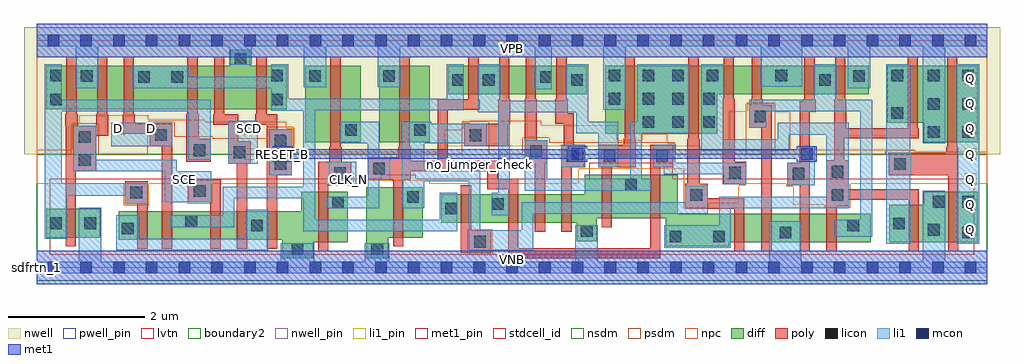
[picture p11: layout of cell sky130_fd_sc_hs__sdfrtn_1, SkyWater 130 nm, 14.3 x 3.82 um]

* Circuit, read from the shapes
.subckt sky130_fd_sc_hs__sdfrtn_1 CLK_N D Q RESET_B SCD SCE VGND VNB VPB VPWR
XM1 VGND SCE n1 VNB sky130_fd_pr__nfet_01v8_lvt w=0.42 l=0.15
XM2 n2 n1 n3 VNB sky130_fd_pr__nfet_01v8_lvt w=0.42 l=0.15
XM3 n4 D n2 VNB sky130_fd_pr__nfet_01v8_lvt w=0.42 l=0.15
XM4 n5 SCE n4 VNB sky130_fd_pr__nfet_01v8_lvt w=0.42 l=0.15
XM5 n3 SCD n5 VNB sky130_fd_pr__nfet_01v8_lvt w=0.42 l=0.15
XM6 VGND RESET_B n3 VNB sky130_fd_pr__nfet_01v8_lvt w=0.42 l=0.15
XM7 n6 CLK_N VGND VNB sky130_fd_pr__nfet_01v8_lvt w=0.74 l=0.15
XM8 n7 n6 VGND VNB sky130_fd_pr__nfet_01v8_lvt w=0.74 l=0.15
XM9 n8 n7 n4 VNB sky130_fd_pr__nfet_01v8_lvt w=0.42 l=0.15
XM10 n9 n6 n8 VNB sky130_fd_pr__nfet_01v8_lvt w=0.42 l=0.15
XM11 n10 n11 n9 VNB sky130_fd_pr__nfet_01v8_lvt w=0.42 l=0.15
XM12 VGND RESET_B n10 VNB sky130_fd_pr__nfet_01v8_lvt w=0.42 l=0.15
XM13 n11 n8 VGND VNB sky130_fd_pr__nfet_01v8_lvt w=0.64 l=0.15
XM14 n12 n6 n11 VNB sky130_fd_pr__nfet_01v8_lvt w=0.64 l=0.15
XM15 n13 n7 n12 VNB sky130_fd_pr__nfet_01v8_lvt w=0.42 l=0.15
XM16 VGND n14 n13 VNB sky130_fd_pr__nfet_01v8_lvt w=0.42 l=0.15
XM17 n15 RESET_B VGND VNB sky130_fd_pr__nfet_01v8_lvt w=0.42 l=0.15
XM18 n14 n12 n15 VNB sky130_fd_pr__nfet_01v8_lvt w=0.42 l=0.15
XM19 VGND n12 n16 VNB sky130_fd_pr__nfet_01v8_lvt w=0.55 l=0.15
XM20 Q n16 VGND VNB sky130_fd_pr__nfet_01v8_lvt w=0.74 l=0.15
XM21 VPWR SCE n1 VPB sky130_fd_pr__pfet_01v8 w=0.64 l=0.15
XM22 n17 SCE VPWR VPB sky130_fd_pr__pfet_01v8 w=0.64 l=0.15
XM23 n4 D n17 VPB sky130_fd_pr__pfet_01v8 w=0.64 l=0.15
XM24 n18 n1 n4 VPB sky130_fd_pr__pfet_01v8 w=0.64 l=0.15
XM25 VPWR SCD n18 VPB sky130_fd_pr__pfet_01v8 w=0.64 l=0.15
XM26 n4 RESET_B VPWR VPB sky130_fd_pr__pfet_01v8 w=0.64 l=0.15
XM27 n6 CLK_N VPWR VPB sky130_fd_pr__pfet_01v8 w=1.12 l=0.15
XM28 n7 n6 VPWR VPB sky130_fd_pr__pfet_01v8 w=1.12 l=0.15
XM29 n8 n6 n4 VPB sky130_fd_pr__pfet_01v8 w=0.42 l=0.15
XM30 n19 n7 n8 VPB sky130_fd_pr__pfet_01v8 w=0.42 l=0.15
XM31 VPWR n11 n19 VPB sky130_fd_pr__pfet_01v8 w=0.42 l=0.15
XM32 n8 RESET_B VPWR VPB sky130_fd_pr__pfet_01v8 w=0.42 l=0.15
XM33 n11 n8 VPWR VPB sky130_fd_pr__pfet_01v8 w=1 l=0.15
XM34 n12 n7 n11 VPB sky130_fd_pr__pfet_01v8 w=1 l=0.15
XM35 n20 n6 n12 VPB sky130_fd_pr__pfet_01v8 w=0.42 l=0.15
XM36 VPWR n14 n20 VPB sky130_fd_pr__pfet_01v8 w=0.42 l=0.15
XM37 n14 RESET_B VPWR VPB sky130_fd_pr__pfet_01v8 w=0.42 l=0.15
XM38 VPWR n12 n14 VPB sky130_fd_pr__pfet_01v8 w=0.42 l=0.15
XM39 VPWR n12 n16 VPB sky130_fd_pr__pfet_01v8 w=0.84 l=0.15
XM40 Q n16 VPWR VPB sky130_fd_pr__pfet_01v8 w=1.12 l=0.15
.ends

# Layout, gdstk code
import gdstk
lib = gdstk.Library(unit=1e-6, precision=1e-09)
def R(c, l, rs):  # rectangles x0, y0, x1, y1
    for r in rs: c.add(gdstk.rectangle(r[:2], r[2:], *l))
def A(c, l, x, y, w, h, nx, ny, dx, dy):  # array of equal rectangles
    R(c, l, [(x+i*dx, y+j*dy, x+i*dx+w, y+j*dy+h) for i in range(nx) for j in range(ny)])
def P(c, l, *ps):  # polygons
    for p in ps: c.add(gdstk.Polygon(p, *l))
nwell_pin = (64, 16)
nwell = (64, 20)
diff = (65, 20)
poly = (66, 20)
licon = (66, 44)
li1_pin = (67, 16)
li1 = (67, 20)
mcon = (67, 44)
met1_pin = (68, 16)
met1 = (68, 20)
stdcell_id = (81, 4)
nsdm = (93, 44)
psdm = (94, 20)
npc = (95, 20)
pwell_pin = (122, 16)
lvtn = (125, 44)
boundary2 = (236, 0)

sky130_fd_sc_hs__sdfrtn_ = lib.new_cell('sky130_fd_sc_hs__sdfrtn_1')
R(sky130_fd_sc_hs__sdfrtn_, nwell_pin, [(0,3.085,13.92,3.33)])
P(sky130_fd_sc_hs__sdfrtn_, nwell, [(14.11,3.52),(-0.19,3.52),(-0.19,1.66),(5.995,1.66),(5.995,1.78),(9.725,1.78),(9.725,1.66),(14.11,1.66)])
R(sky130_fd_sc_hs__sdfrtn_, diff, [(0.135,0.44,0.925,0.86), (3.93,1.84,4.745,2.96), (5.015,1.84,5.755,2.96), (6.025,2.54,8.055,2.96)])
P(sky130_fd_sc_hs__sdfrtn_, diff, [(3.66,2.96),(3.125,2.96),(3.125,3.195),(2.835,3.195),(2.835,2.96),(0.135,2.96),(0.135,2.32),(3.66,2.32)],
  [(4.555,1.11),(3.87,1.11),(3.87,0.825),(1.195,0.825),(1.195,0.405),(3.595,0.405),(3.595,0.135),(4.045,0.135),(4.045,0.37),(4.555,0.37)],
  [(5.655,1.18),(4.825,1.18),(4.825,0.135),(5.145,0.135),(5.145,0.44),(5.655,0.44)],
  [(13.785,1.11),(12.995,1.11),(12.995,0.92),(12.485,0.92),(12.485,0.37),(13.785,0.37)],
  [(12.19,2.96),(8.325,2.96),(8.325,1.96),(9.97,1.96),(9.97,2.54),(12.19,2.54)],
  [(12.215,0.79),(9.385,0.79),(9.385,1.36),(8.025,1.36),(8.025,1.075),(5.925,1.075),(5.925,0.655),(7.91,0.655),(7.91,0.39),(8.2,0.39),(8.2,0.72),(9.21,0.72),(9.21,0.31),(10.14,0.31),(10.14,0.37),(12.215,0.37)],
  [(13.785,2.96),(12.46,2.96),(12.46,2.12),(12.995,2.12),(12.995,1.84),(13.785,1.84)])
P(sky130_fd_sc_hs__sdfrtn_, poly, [(13.5,1.765),(13.485,1.765),(13.485,3.09),(13.335,3.09),(13.335,1.765),(13.32,1.765),(13.32,1.685),(12.48,1.685),(12.48,1.355),(13.35,1.355),(13.35,0.24),(13.5,0.24)],
  [(12.92,1.145),(11.895,1.145),(11.895,1.57),(11.83,1.57),(11.83,1.895),(12.92,1.895),(12.92,2.045),(12.905,2.045),(12.905,3.09),(12.755,3.09),(12.755,2.045),(11.86,2.045),(11.86,2.465),(11.845,2.465),(11.845,3.09),(11.695,3.09),(11.695,2.465),(11.68,2.465),(11.68,1.57),(11.565,1.57),(11.565,0.24),(11.715,0.24),(11.715,0.9),(11.895,0.9),(11.895,0.995),(12.77,0.995),(12.77,0.24),(12.92,0.24)],
  [(11.41,2.465),(11.395,2.465),(11.395,3.09),(11.245,3.09),(11.245,2.465),(11.23,2.465),(11.23,2.435),(11.175,2.435),(11.175,1.54),(10.995,1.54),(10.995,1.21),(11.175,1.21),(11.175,0.24),(11.325,0.24),(11.325,2.285),(11.41,2.285)],
  [(10.765,2.38),(10.635,2.38),(10.635,2.465),(10.62,2.465),(10.62,3.09),(10.47,3.09),(10.47,2.465),(10.455,2.465),(10.455,2.38),(10.435,2.38),(10.435,2.05),(10.615,2.05),(10.615,0.24),(10.765,0.24)],
  [(10.395,1.555),(10.225,1.555),(10.225,2.465),(10.21,2.465),(10.21,3.09),(10.06,3.09),(10.06,2.465),(10.045,2.465),(10.045,1.225),(10.395,1.225)],
  [(10.365,1.015),(9.825,1.015),(9.825,1.23),(9.71,1.23),(9.71,1.885),(9.695,1.885),(9.695,3.09),(9.545,3.09),(9.545,1.885),(9.53,1.885),(9.53,1.23),(9.495,1.23),(9.495,0.865),(10.215,0.865),(10.215,0.24),(10.365,0.24)],
  [(9.32,1.8),(8.985,1.8),(8.985,0.285),(7.055,0.285),(7.055,1.3),(6.75,1.3),(6.75,1.565),(6.02,1.565),(6.02,2.315),(6.485,2.315),(6.485,2.465),(6.47,2.465),(6.47,3.09),(6.32,3.09),(6.32,2.465),(5.87,2.465),(5.87,1.565),(5.475,1.565),(5.475,1.765),(5.46,1.765),(5.46,3.09),(5.31,3.09),(5.31,1.765),(5.295,1.765),(5.295,1.62),(4.845,1.62),(4.845,1.29),(5.22,1.29),(5.22,0.31),(5.37,0.31),(5.37,1.29),(5.475,1.29),(5.475,1.415),(6.6,1.415),(6.6,1.15),(6.905,1.15),(6.905,0.135),(9.135,0.135),(9.135,1.47),(9.32,1.47)],
  [(8.775,1.885),(8.76,1.885),(8.76,3.09),(8.61,3.09),(8.61,1.885),(8.595,1.885),(8.595,1.8),(8.225,1.8),(8.225,1.47),(8.275,1.47),(8.275,0.59),(8.425,0.59),(8.425,1.47),(8.775,1.47)],
  [(8.015,1.8),(7.865,1.8),(7.865,2.26),(7.775,2.26),(7.775,2.465),(7.76,2.465),(7.76,3.09),(7.61,3.09),(7.61,2.465),(7.595,2.465),(7.595,2.11),(7.715,2.11),(7.715,1.8),(7.685,1.8),(7.685,0.525),(7.835,0.525),(7.835,1.47),(8.015,1.47)],
  [(7.475,1.87),(7.325,1.87),(7.325,2.465),(7.31,2.465),(7.31,3.09),(7.16,3.09),(7.16,2.465),(7.145,2.465),(7.145,1.54),(7.295,1.54),(7.295,0.525),(7.445,0.525),(7.445,1.54),(7.475,1.54)],
  [(6.935,2.465),(6.92,2.465),(6.92,3.09),(6.77,3.09),(6.77,2.465),(6.755,2.465),(6.755,2.105),(6.26,2.105),(6.26,1.775),(6.905,1.775),(6.905,2.105),(6.935,2.105)],
  [(6.655,0.545),(6.36,0.545),(6.36,1.205),(6.21,1.205),(6.21,0.215),(6.655,0.215)],
  [(4.605,1.55),(4.465,1.55),(4.465,1.765),(4.45,1.765),(4.45,3.09),(4.3,3.09),(4.3,1.765),(4.285,1.765),(4.285,1.55),(4.12,1.55),(4.12,0.24),(4.27,0.24),(4.27,1.22),(4.605,1.22)],
  [(3.735,2.025),(3.52,2.025),(3.52,2.245),(3.365,2.245),(3.365,3.09),(3.215,3.09),(3.215,2.245),(3.2,2.245),(3.2,2.095),(3.37,2.095),(3.37,0.275),(3.52,0.275),(3.52,1.355),(3.735,1.355)],
  [(3.13,1.855),(2.95,1.855),(2.95,2.245),(2.745,2.245),(2.745,3.09),(2.595,3.09),(2.595,2.245),(2.58,2.245),(2.58,2.095),(2.8,2.095),(2.8,1.525),(2.93,1.525),(2.93,0.275),(3.08,0.275),(3.08,1.525),(3.13,1.525)],
  [(2.69,1.285),(2.22,1.285),(2.22,0.955),(2.54,0.955),(2.54,0.275),(2.69,0.275)],
  [(2.545,1.885),(2.37,1.885),(2.37,2.245),(2.355,2.245),(2.355,3.09),(2.205,3.09),(2.205,2.245),(2.19,2.245),(2.19,1.555),(2.545,1.555)],
  [(1.98,2.11),(1.435,2.11),(1.435,2.245),(1.42,2.245),(1.42,3.09),(1.27,3.09),(1.27,2.245),(1.255,2.245),(1.255,1.96),(1.65,1.96),(1.65,1.78),(1.83,1.78),(1.83,0.275),(1.98,0.275)],
  [(1.62,1.265),(1.29,1.265),(1.29,0.935),(1.47,0.935),(1.47,0.275),(1.62,0.275)],
  [(1.045,2.245),(1.03,2.245),(1.03,3.09),(0.88,3.09),(0.88,2.245),(0.865,2.245),(0.865,2.08),(0.595,2.08),(0.595,2.245),(0.58,2.245),(0.58,3.09),(0.43,3.09),(0.43,2.245),(0.415,2.245),(0.415,2.08),(0.42,2.08),(0.42,0.31),(0.57,0.31),(0.57,1.41),(0.865,1.41),(0.865,1.93),(1.045,1.93)])
A(sky130_fd_sc_hs__sdfrtn_, licon, 13.055, 1.9, 0.17, 0.17, 1, 3, 0, 0.415)
A(sky130_fd_sc_hs__sdfrtn_, licon, 13.555, 1.9, 0.17, 0.17, 1, 3, 0, 0.415)
A(sky130_fd_sc_hs__sdfrtn_, licon, 8.875, 2.05, 0.17, 0.17, 1, 3, 0, 0.34)
A(sky130_fd_sc_hs__sdfrtn_, licon, 9.31, 2.05, 0.17, 0.17, 1, 3, 0, 0.34)
R(sky130_fd_sc_hs__sdfrtn_, licon, [(3.735,0.19,3.905,0.36), (4.9,0.19,5.07,0.36), (6.405,0.295,6.575,0.465), (9.27,0.37,9.44,0.54), (9.91,0.37,10.08,0.54), (10.88,0.43,11.05,0.6), (13.555,0.43,13.725,0.6), (7.97,0.45,8.14,0.62), (13.055,0.47,13.225,0.64), (1.245,0.49,1.415,0.66), (3.14,0.53,3.31,0.7), (11.875,0.53,12.045,0.7), (12.545,0.56,12.715,0.73), (0.195,0.565,0.365,0.735), (0.695,0.565,0.865,0.735), (2.175,0.595,2.345,0.765), (5.985,0.78,6.155,0.95), (6.67,0.845,6.84,1.015), (4.325,0.87,4.495,1.04), (13.125,0.88,13.295,1.05), (13.555,0.88,13.725,1.05), (5.425,0.95,5.595,1.12), (9.575,0.98,9.745,1.15), (11.645,0.98,11.815,1.15), (1.37,1.015,1.54,1.185), (2.3,1.035,2.47,1.205), (8.62,1.13,8.79,1.3), (11.075,1.29,11.245,1.46), (4.355,1.3,4.525,1.47), (10.145,1.305,10.315,1.475), (11.645,1.32,11.815,1.49), (4.925,1.37,5.095,1.54), (3.485,1.435,3.655,1.605), (12.56,1.435,12.73,1.605), (0.615,1.49,0.785,1.66), (7.765,1.55,7.935,1.72), (8.305,1.55,8.475,1.72), (9.07,1.55,9.24,1.72), (2.88,1.605,3.05,1.775), (7.225,1.62,7.395,1.79), (2.295,1.635,2.465,1.805), (3.485,1.775,3.655,1.945), (0.615,1.83,0.785,2), (6.34,1.855,6.51,2.025), (1.73,1.86,1.9,2.03), (4.515,1.93,4.685,2.1), (5.525,1.93,5.695,2.1), (9.76,2.05,9.93,2.22), (10.515,2.13,10.685,2.3), (12.52,2.18,12.69,2.35), (0.195,2.38,0.365,2.55), (3.43,2.38,3.6,2.55), (8.375,2.39,8.545,2.56), (9.76,2.39,9.93,2.56), (6.085,2.665,6.255,2.835), (6.535,2.665,6.705,2.835), (7.825,2.665,7.995,2.835), (11.46,2.665,11.63,2.835), (1.485,2.71,1.655,2.88), (1.97,2.71,2.14,2.88), (7.375,2.71,7.545,2.88), (0.645,2.72,0.815,2.89), (11.96,2.72,12.13,2.89), (3.99,2.725,4.16,2.895), (5.075,2.725,5.245,2.895), (0.195,2.73,0.365,2.9), (3.43,2.73,3.6,2.9), (8.375,2.73,8.545,2.9), (9.815,2.73,9.985,2.9), (10.82,2.73,10.99,2.9), (12.52,2.73,12.69,2.9), (2.895,2.97,3.065,3.14)])
A(sky130_fd_sc_hs__sdfrtn_, li1_pin, 13.595, 0.47, 0.17, 0.17, 1, 7, 0, 0.37)
R(sky130_fd_sc_hs__sdfrtn_, li1_pin, [(2.075,1.21,2.245,1.38), (4.475,1.21,4.645,1.38), (3.035,1.58,3.205,1.75), (1.115,1.95,1.285,2.12), (1.595,1.95,1.765,2.12), (3.035,1.95,3.205,2.12)])
R(sky130_fd_sc_hs__sdfrtn_, li1, [(13.475,0.35,13.805,2.98), (4.275,1.21,4.675,1.55), (3.405,1.355,3.735,2.025), (7.685,1.47,8.035,1.8), (2.8,1.525,3.235,2.15), (1.085,1.78,1.98,2.12)])
P(sky130_fd_sc_hs__sdfrtn_, li1, [(6.255,2.98),(6.005,2.98),(6.005,2.475),(3.68,2.475),(3.68,2.98),(3.43,2.98),(3.43,2.8),(2.22,2.8),(2.22,2.96),(1.405,2.96),(1.405,2.63),(3.43,2.63),(3.43,2.3),(3.905,2.3),(3.905,1.185),(2.72,1.185),(2.72,0.765),(1.955,0.765),(1.955,0.595),(2.89,0.595),(2.89,1.015),(3.905,1.015),(3.905,0.53),(6.155,0.53),(6.155,1.095),(5.905,1.095),(5.905,0.7),(4.075,0.7),(4.075,2.305),(6.255,2.305)],
  [(2.545,2.46),(0.365,2.46),(0.365,2.98),(0.115,2.98),(0.115,0.42),(0.445,0.42),(0.445,1.05),(1.29,1.05),(1.29,0.935),(1.62,0.935),(1.62,1.24),(0.365,1.24),(0.365,2.29),(2.215,2.29),(2.215,1.58),(2.545,1.58)],
  [(2.55,1.41),(2.045,1.41),(2.045,1.58),(0.865,1.58),(0.865,2.08),(0.535,2.08),(0.535,1.41),(1.875,1.41),(1.875,0.955),(2.55,0.955)],
  [(3.39,0.845),(3.06,0.845),(3.06,0.425),(1.495,0.425),(1.495,0.765),(1.165,0.765),(1.165,0.255),(3.39,0.255)],
  [(5.175,1.62),(5.015,1.62),(5.015,2.135),(4.435,2.135),(4.435,1.82),(4.845,1.82),(4.845,1.04),(4.245,1.04),(4.245,0.87),(5.015,0.87),(5.015,1.29),(5.175,1.29)],
  [(13.92,0.085),(13.305,0.085),(13.305,1.13),(12.975,1.13),(12.975,0.085),(11.2,0.085),(11.2,0.68),(10.73,0.68),(10.73,0.085),(8.22,0.085),(8.22,0.62),(7.89,0.62),(7.89,0.085),(5.165,0.085),(5.165,0.36),(4.805,0.36),(4.805,0.085),(4.065,0.085),(4.065,0.36),(3.575,0.36),(3.575,0.085),(0.945,0.085),(0.945,0.88),(0.615,0.88),(0.615,0.085),(0,0.085),(0,-0.085),(13.92,-0.085)],
  [(13.92,3.415),(0,3.415),(0,3.245),(0.565,3.245),(0.565,2.63),(0.895,2.63),(0.895,3.245),(2.815,3.245),(2.815,2.97),(3.145,2.97),(3.145,3.245),(3.91,3.245),(3.91,2.645),(4.24,2.645),(4.24,3.245),(4.995,3.245),(4.995,2.645),(5.325,2.645),(5.325,3.245),(7.295,3.245),(7.295,2.615),(7.545,2.615),(7.545,3.245),(8.295,3.245),(8.295,2.31),(8.625,2.31),(8.625,3.245),(10.605,3.245),(10.605,2.65),(11.21,2.65),(11.21,3.245),(11.88,3.245),(11.88,2.63),(12.21,2.63),(12.21,3.245),(12.975,3.245),(12.975,1.82),(13.305,1.82),(13.305,3.245),(13.92,3.245)],
  [(12.81,1.685),(12.795,1.685),(12.795,2.98),(12.44,2.98),(12.44,0.35),(12.795,0.35),(12.795,1.355),(12.81,1.355)],
  [(12.235,2.46),(11.71,2.46),(11.71,2.98),(11.38,2.98),(11.38,2.46),(10.435,2.46),(10.435,2.05),(10.685,2.05),(10.685,2.29),(12.065,2.29),(12.065,0.7),(11.69,0.7),(11.69,0.45),(12.235,0.45)],
  [(11.895,2.12),(10.855,2.12),(10.855,1.88),(10.065,1.88),(10.065,2.98),(9.735,2.98),(9.735,1.71),(11.025,1.71),(11.025,1.95),(11.565,1.95),(11.565,1.04),(9.995,1.04),(9.995,0.62),(9.19,0.62),(9.19,0.29),(10.165,0.29),(10.165,0.87),(11.895,0.87)],
  [(11.395,1.78),(11.195,1.78),(11.195,1.54),(10.995,1.54),(10.995,1.21),(11.395,1.21)],
  [(10.395,1.54),(9.35,1.54),(9.35,1.8),(9.03,1.8),(9.03,1.47),(9.18,1.47),(9.18,1.37),(10.065,1.37),(10.065,1.225),(10.395,1.225)],
  [(9.825,1.2),(9.495,1.2),(9.495,0.96),(7.1,0.96),(7.1,0.545),(6.495,0.545),(6.495,1.435),(5.675,1.435),(5.675,1.82),(6.26,1.82),(6.26,1.775),(6.59,1.775),(6.59,2.105),(5.775,2.105),(5.775,2.135),(5.345,2.135),(5.345,0.87),(5.675,0.87),(5.675,1.265),(6.325,1.265),(6.325,0.255),(7.27,0.255),(7.27,0.79),(9.825,0.79)],
  [(9.565,2.98),(8.795,2.98),(8.795,2.14),(8.69,2.14),(8.69,1.3),(7.475,1.3),(7.475,1.87),(7.145,1.87),(7.145,1.13),(9.01,1.13),(9.01,1.3),(8.86,1.3),(8.86,1.97),(9.565,1.97)],
  [(8.52,2.14),(8.075,2.14),(8.075,2.98),(7.745,2.98),(7.745,2.445),(6.785,2.445),(6.785,2.98),(6.455,2.98),(6.455,2.275),(6.76,2.275),(6.76,1.095),(6.665,1.095),(6.665,0.765),(6.93,0.765),(6.93,2.275),(7.905,2.275),(7.905,1.97),(8.225,1.97),(8.225,1.47),(8.52,1.47)])
A(sky130_fd_sc_hs__sdfrtn_, mcon, 0.155, -0.085, 0.17, 0.17, 29, 2, 0.48, 3.33)
R(sky130_fd_sc_hs__sdfrtn_, mcon, [(3.515,1.58,3.685,1.75), (7.835,1.58,8.005,1.75), (11.195,1.58,11.365,1.75)])
R(sky130_fd_sc_hs__sdfrtn_, met1_pin, [(0,0,13.92,0.245), (3.515,1.58,3.685,1.75), (0,3.085,13.92,3.33)])
R(sky130_fd_sc_hs__sdfrtn_, met1, [(0,-0.245,13.92,0.245), (0,3.085,13.92,3.575)])
P(sky130_fd_sc_hs__sdfrtn_, met1, [(11.425,1.78),(11.135,1.78),(11.135,1.735),(8.065,1.735),(8.065,1.78),(7.775,1.78),(7.775,1.735),(3.745,1.735),(3.745,1.78),(3.455,1.78),(3.455,1.55),(3.745,1.55),(3.745,1.595),(7.775,1.595),(7.775,1.55),(8.065,1.55),(8.065,1.595),(11.135,1.595),(11.135,1.55),(11.425,1.55)])
R(sky130_fd_sc_hs__sdfrtn_, stdcell_id, [(0,0,13.92,3.33)])
R(sky130_fd_sc_hs__sdfrtn_, nsdm, [(0,-0.19,13.92,1.66)])
P(sky130_fd_sc_hs__sdfrtn_, psdm, [(13.92,3.52),(0,3.52),(0,1.66),(0.505,1.66),(0.505,2.11),(0.895,2.11),(0.895,1.66),(1.62,1.66),(1.62,2.14),(2.01,2.14),(2.01,1.915),(2.575,1.915),(2.575,1.885),(3.375,1.885),(3.375,2.055),(3.765,2.055),(3.765,1.66),(6.23,1.66),(6.23,2.135),(6.62,2.135),(6.62,1.66),(7.115,1.66),(7.115,1.9),(7.505,1.9),(7.505,1.83),(9.35,1.83),(9.35,1.66),(10.395,1.66),(10.395,2.41),(10.81,2.41),(10.81,1.66),(12.435,1.66),(12.435,1.715),(12.875,1.715),(12.875,1.66),(13.92,1.66)])
R(sky130_fd_sc_hs__sdfrtn_, npc, [(6.305,0.195,6.675,0.565)])
P(sky130_fd_sc_hs__sdfrtn_, npc, [(13.92,1.7),(12.855,1.7),(12.855,1.73),(11.04,1.73),(11.04,2.295),(10.785,2.295),(10.785,2.4),(10.405,2.4),(10.405,2.295),(10.14,2.295),(10.14,1.73),(9.34,1.73),(9.34,1.82),(9.235,1.82),(9.235,1.96),(8.865,1.96),(8.865,1.87),(8.505,1.87),(8.505,2.085),(7.39,2.085),(7.39,2.155),(6.345,2.155),(6.345,2.125),(6.24,2.125),(6.24,2.02),(5.975,2.02),(5.975,1.73),(5.895,1.73),(5.895,1.7),(3.79,1.7),(3.79,1.73),(3.755,1.73),(3.755,2.045),(3.65,2.045),(3.65,2.14),(2.46,2.14),(2.46,2.17),(1.63,2.17),(1.63,2.23),(0.62,2.23),(0.62,2.1),(0.515,2.1),(0.515,1.73),(0,1.73),(0,1.23),(1.27,1.23),(1.27,0.915),(1.64,0.915),(1.64,1.23),(2.2,1.23),(2.2,0.935),(2.57,0.935),(2.57,1.23),(4.255,1.23),(4.255,1.2),(4.625,1.2),(4.625,1.23),(4.735,1.23),(4.735,1.27),(5.745,1.27),(5.745,1.23),(7.935,1.23),(7.935,1.45),(9.475,1.45),(9.475,0.88),(9.845,0.88),(9.845,0.94),(10.28,0.94),(10.28,1.205),(10.385,1.205),(10.385,1.23),(10.975,1.23),(10.975,1.19),(11.08,1.19),(11.08,0.925),(11.545,0.925),(11.545,0.88),(11.915,0.88),(11.915,1.23),(13.92,1.23)])
R(sky130_fd_sc_hs__sdfrtn_, pwell_pin, [(0,0,13.92,0.245)])
P(sky130_fd_sc_hs__sdfrtn_, lvtn, [(13.73,1.3),(9.315,1.3),(9.315,1.54),(8.095,1.54),(8.095,1.3),(5.55,1.3),(5.55,1.36),(5.04,1.36),(5.04,1.3),(0.19,1.3),(0.19,0.19),(13.73,0.19)])
R(sky130_fd_sc_hs__sdfrtn_, boundary2, [(0,0,13.92,3.33)])
sky130_fd_sc_hs__sdfrtn_.add(gdstk.Label('no_jumper_check', (6.49,1.51), layer=83, texttype=44))
sky130_fd_sc_hs__sdfrtn_.add(gdstk.Label('sdfrtn_1', (0,0), layer=83, texttype=44))
sky130_fd_sc_hs__sdfrtn_.add(gdstk.Label('VNB', (6.96,0.123), layer=64, texttype=59))
sky130_fd_sc_hs__sdfrtn_.add(gdstk.Label('VPB', (6.96,3.208), layer=64, texttype=5))
sky130_fd_sc_hs__sdfrtn_.add(gdstk.Label('RESET_B', (3.6,1.665), layer=68, texttype=5))
sky130_fd_sc_hs__sdfrtn_.add(gdstk.Label('VPWR', (6.96,3.208), layer=68, texttype=5))
sky130_fd_sc_hs__sdfrtn_.add(gdstk.Label('VGND', (6.96,0.123), layer=68, texttype=5))
sky130_fd_sc_hs__sdfrtn_.add(gdstk.Label('Q', (13.68,0.555), layer=67, texttype=5))
sky130_fd_sc_hs__sdfrtn_.add(gdstk.Label('Q', (13.68,0.925), layer=67, texttype=5))
sky130_fd_sc_hs__sdfrtn_.add(gdstk.Label('Q', (13.68,1.295), layer=67, texttype=5))
sky130_fd_sc_hs__sdfrtn_.add(gdstk.Label('Q', (13.68,1.665), layer=67, texttype=5))
sky130_fd_sc_hs__sdfrtn_.add(gdstk.Label('Q', (13.68,2.035), layer=67, texttype=5))
sky130_fd_sc_hs__sdfrtn_.add(gdstk.Label('Q', (13.68,2.405), layer=67, texttype=5))
sky130_fd_sc_hs__sdfrtn_.add(gdstk.Label('Q', (13.68,2.775), layer=67, texttype=5))
sky130_fd_sc_hs__sdfrtn_.add(gdstk.Label('CLK_N', (4.56,1.295), layer=67, texttype=5))
sky130_fd_sc_hs__sdfrtn_.add(gdstk.Label('SCD', (3.12,1.665), layer=67, texttype=5))
sky130_fd_sc_hs__sdfrtn_.add(gdstk.Label('SCD', (3.12,2.035), layer=67, texttype=5))
sky130_fd_sc_hs__sdfrtn_.add(gdstk.Label('SCE', (2.16,1.295), layer=67, texttype=5))
sky130_fd_sc_hs__sdfrtn_.add(gdstk.Label('D', (1.2,2.035), layer=67, texttype=5))
sky130_fd_sc_hs__sdfrtn_.add(gdstk.Label('D', (1.68,2.035), layer=67, texttype=5))

lib.write_gds('sky130_fd_sc_hs__sdfrtn_1.gds')
